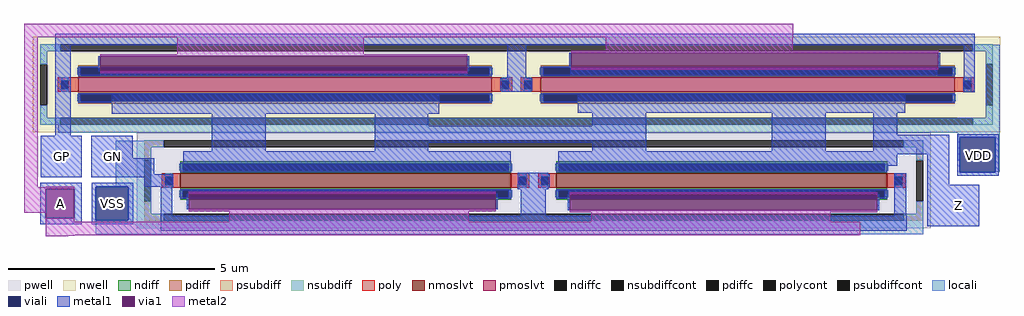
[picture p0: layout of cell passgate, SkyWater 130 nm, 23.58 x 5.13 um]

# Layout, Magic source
magic
tech sky130A
magscale 1 2
<< pwell >>
rect 3936 -650 3986 -522
rect 7518 -550 7576 -506
rect 5742 -664 5890 -584
rect 5756 -828 5876 -664
<< locali >>
rect 8002 -318 8070 36
rect 7868 -320 8070 -318
rect 3522 -390 8070 -320
rect 7868 -412 8070 -390
rect 3800 -650 3970 -428
rect 7868 -526 7878 -412
rect 8050 -578 8070 -412
rect 3860 -792 3970 -650
rect 3860 -812 7700 -792
rect 3702 -880 7700 -812
<< viali >>
rect 7878 -580 8050 -412
rect 3702 -812 3860 -650
<< metal1 >>
rect 3508 34 7950 88
rect 3508 -404 3582 34
rect 3714 -92 3724 -20
rect 5498 -92 5508 -20
rect 3724 -112 5498 -92
rect 5692 -126 5782 34
rect 5990 -76 6000 -4
rect 7774 -76 7784 -4
rect 5996 -106 7770 -76
rect 5662 -192 5808 -126
rect 7896 -194 7950 34
rect 3780 -298 5362 -206
rect 6032 -292 7614 -200
rect 3436 -604 3636 -404
rect 3682 -512 3882 -404
rect 4264 -480 4524 -298
rect 5050 -356 5310 -298
rect 6102 -356 6362 -292
rect 5050 -438 6362 -356
rect 5050 -480 5310 -438
rect 6102 -478 6362 -438
rect 6970 -478 7230 -292
rect 7460 -400 7576 -292
rect 7460 -478 7826 -400
rect 3682 -590 3986 -512
rect 4126 -572 5708 -480
rect 5938 -494 7826 -478
rect 5938 -550 7576 -494
rect 5938 -570 7520 -550
rect 3682 -604 4078 -590
rect 3434 -660 3634 -632
rect 3434 -802 3460 -660
rect 3600 -802 3634 -660
rect 3434 -832 3634 -802
rect 3684 -650 3884 -632
rect 3936 -650 4078 -604
rect 3684 -812 3702 -650
rect 3860 -812 3884 -650
rect 3684 -832 3884 -812
rect 4016 -792 4072 -650
rect 5742 -664 5890 -584
rect 4152 -684 5636 -666
rect 4142 -760 4152 -684
rect 5636 -760 5646 -684
rect 5756 -792 5876 -664
rect 5986 -688 7470 -668
rect 5984 -764 5994 -688
rect 7478 -764 7488 -688
rect 7560 -792 7620 -586
rect 7720 -642 7826 -494
rect 7866 -412 8066 -398
rect 7866 -580 7878 -412
rect 8050 -580 8066 -412
rect 7866 -598 8066 -580
rect 4016 -864 7622 -792
rect 7720 -842 7972 -642
<< via1 >>
rect 3724 -92 5498 -20
rect 6000 -76 7774 -4
rect 3460 -802 3600 -660
rect 4152 -760 5636 -684
rect 5994 -764 7478 -688
<< metal2 >>
rect 3356 71 7073 137
rect 3356 -654 3422 71
rect 4096 -10 4998 71
rect 6168 6 7070 71
rect 6000 -4 7774 6
rect 3724 -20 5498 -10
rect 6000 -86 7774 -76
rect 3724 -102 5498 -92
rect 3460 -654 3600 -650
rect 3356 -660 3600 -654
rect 3356 -772 3460 -660
rect 3358 -776 3460 -772
rect 4152 -684 5636 -674
rect 4152 -770 5636 -760
rect 5994 -688 7478 -678
rect 3460 -820 3600 -802
rect 4348 -820 5504 -770
rect 5994 -774 7478 -764
rect 6096 -820 7252 -774
rect 3460 -886 7396 -820
rect 3460 -888 3600 -886
rect 3460 -890 3570 -888
use sky130_fd_pr__nfet_01v8_lvt_PEJ72P  XM1 std
transform 0 -1 5819 1 0 -621
box -231 -1919 231 1919
use sky130_fd_pr__pfet_01v8_lvt_4QFMR3  XM3 std
transform 0 -1 5735 1 0 -157
box -231 -2337 231 2337
<< labels >>
flabel metal1 3434 -832 3634 -632 0 FreeSans 256 0 0 0 A
port 0 nsew
flabel metal1 3682 -604 3882 -404 0 FreeSans 256 0 0 0 GN
port 1 nsew
flabel metal1 3436 -604 3636 -404 0 FreeSans 256 0 0 0 GP
port 2 nsew
flabel metal1 7772 -842 7972 -642 0 FreeSans 256 0 0 0 Z
port 3 nsew
flabel metal1 7866 -598 8066 -398 0 FreeSans 256 0 0 0 VDD
port 4 nsew
flabel metal1 3684 -832 3884 -632 0 FreeSans 256 0 0 0 VSS
port 5 nsew
<< end >>

# cell sky130_fd_pr__nfet_01v8_lvt_PEJ72P: kit device sky130_fd_pr__nfet_01v8_lvt, w 8.0 l 0.35 m 2 nf 1 diffcov 100 polycov 100 guard 1 glc 1 grc 1 gtc 1 gbc 1 tbcov 100 rlcov 100 topc 1 botc 1 poverlap 0 doverlap 1 lmin 0.15 wmin 0.42 compatible {sky130_fd_pr__nfet_01v8 sky130_fd_pr__nfet_01v8_lvt sky130_fd_bs_flash__special_sonosfet_star sky130_fd_pr__nfet_g5v0d10v5 sky130_fd_pr__nfet_05v0_nvt sky130_fd_pr__nfet_03v3_nvt} full_metal 1 viasrc 100 viadrn 100 viagate 100 viagb 0 viagr 0 viagl 0 viagt 0

# cell sky130_fd_pr__pfet_01v8_lvt_4QFMR3: kit device sky130_fd_pr__pfet_01v8_lvt, w 10.0 l 0.35 m 2 nf 1 diffcov 100 polycov 100 guard 1 glc 1 grc 1 gtc 1 gbc 1 tbcov 100 rlcov 100 topc 1 botc 1 poverlap 0 doverlap 1 lmin 0.35 wmin 0.42 compatible {sky130_fd_pr__pfet_01v8 sky130_fd_pr__pfet_01v8_lvt sky130_fd_pr__pfet_01v8_hvt sky130_fd_pr__pfet_g5v0d10v5} full_metal 1 viasrc 100 viadrn 100 viagate 100 viagb 0 viagr 0 viagl 0 viagt 0
